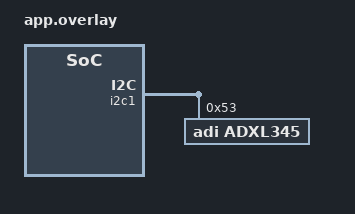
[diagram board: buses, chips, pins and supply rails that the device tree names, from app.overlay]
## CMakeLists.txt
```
#
# Copyright (c) 2024, Chunghan Yi <chunghan.yi@gmail.com>
#
# SPDX-License-Identifier: Apache-2.0
#

cmake_minimum_required(VERSION 3.20.0)
find_package(Zephyr REQUIRED HINTS $ENV{ZEPHYR_BASE})
project(adxl345)

FILE(GLOB app_sources src/*.c)
target_sources(app PRIVATE ${app_sources})
```

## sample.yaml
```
sample:
  name: ADXL345 Accelerometer data Monitor
tests:
  sample.sensor.adxl345:
    harness: sensor
    tags:
      - samples
      - sensor
    depends_on:
      - i2c
      - adxl345
```

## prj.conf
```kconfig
CONFIG_STDOUT_CONSOLE=y
CONFIG_SENSOR=y
CONFIG_ADXL345=y
```

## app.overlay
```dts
/*
 * Copyright (c) 2024 Chunghan Yi <chunghan.yi@gmail.com>
 *
 * SPDX-License-Identifier: Apache-2.0
 */

&i2c1 {
    adxl345: adxl345@53 {
        compatible = "adi,adxl345";
        reg = <0x53>;
        status = "okay";
    };
};
```

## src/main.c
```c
/*
 * Copyright (c) 2024 Chunghan Yi <chunghan.yi@gmail.com>
 *
 * SPDX-License-Identifier: Apache-2.0
 */

#include <stdio.h>
#include <stdlib.h>

#include <zephyr/types.h>
#include <zephyr/kernel.h>
#include <zephyr/drivers/gpio.h>
#include <zephyr/logging/log.h>
#include <zephyr/drivers/sensor.h>

static const struct device *adxl345 = DEVICE_DT_GET(DT_NODELABEL(adxl345));

int main(void)
{
	static struct sensor_value accel_x, accel_y, accel_z;

	if (!device_is_ready(adxl345)) {
		printk("The ADXL345 sensor is not ready.");
		return 0;
	}
	printk("OK, sensor device is ready.\n");

	while (1) {
		sensor_sample_fetch_chan(adxl345, SENSOR_CHAN_ACCEL_XYZ);
		sensor_channel_get(adxl345, SENSOR_CHAN_ACCEL_X, &accel_x);
		sensor_channel_get(adxl345, SENSOR_CHAN_ACCEL_Y, &accel_y);
		sensor_channel_get(adxl345, SENSOR_CHAN_ACCEL_Z, &accel_z);

		printk("[val1] x: %d, y: %d, z: %d\n", accel_x.val1, accel_y.val1, accel_z.val1);
		printk("[val2] x: %d, y: %d, z: %d\n", accel_x.val2, accel_y.val2, accel_z.val2);

		k_msleep(2000);
	}
	return 0;
}
```
